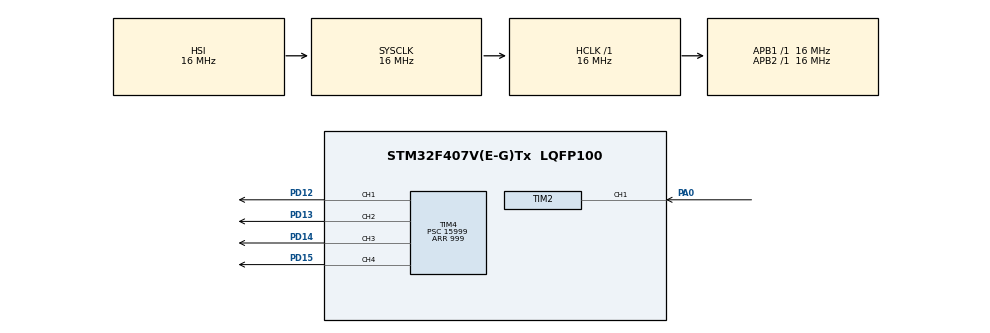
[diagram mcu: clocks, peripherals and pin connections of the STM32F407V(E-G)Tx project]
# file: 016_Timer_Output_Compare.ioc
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Mcu.Family=STM32F4
Mcu.Name=STM32F407V(E-G)Tx
Mcu.Package=LQFP100
NVIC.PriorityGroup=NVIC_PRIORITYGROUP_4
NVIC.TIM2_IRQn=true\:0\:0\:false\:false\:true\:true\:true\:true
PA0-WKUP.Signal=S_TIM2_CH1_ETR
PA13.Mode=Serial_Wire
PA13.Signal=SYS_JTMS-SWDIO
PA14.Mode=Serial_Wire
PA14.Signal=SYS_JTCK-SWCLK
PD12.Signal=S_TIM4_CH1
PD13.Signal=S_TIM4_CH2
PD14.Signal=S_TIM4_CH3
PD15.Signal=S_TIM4_CH4
ProjectManager.HeapSize=0x200
ProjectManager.StackSize=0x400
ProjectManager.TargetToolchain=STM32CubeIDE
RCC.AHBFreq_Value=16000000
RCC.APB1Freq_Value=16000000
RCC.APB2Freq_Value=16000000
RCC.CortexFreq_Value=16000000
RCC.HSE_VALUE=8000000
RCC.HSI_VALUE=16000000
RCC.LSE_VALUE=32768
RCC.RCC_MCO1Source=RCC_MCO1SOURCE_HSE
RCC.RCC_MCODiv1=RCC_MCODIV_2
RCC.SYSCLKFreq_VALUE=16000000
RCC.VCOOutputFreq_Value=192000000
SH.S_TIM2_CH1_ETR.0=TIM2_CH1,Input_Capture1_from_TI1
SH.S_TIM4_CH1.0=TIM4_CH1,Output Compare1 CH1
SH.S_TIM4_CH2.0=TIM4_CH2,Output Compare2 CH2
SH.S_TIM4_CH3.0=TIM4_CH3,Output Compare3 CH3
SH.S_TIM4_CH4.0=TIM4_CH4,Output Compare4 CH4
TIM2.Channel-Input_Capture1_from_TI1=TIM_CHANNEL_1
TIM2.ICPolarity_CH1=TIM_INPUTCHANNELPOLARITY_BOTHEDGE
TIM2.Period=\ 4294967295
TIM2.Prescaler=15999
TIM4.Channel-Output\ Compare1\ CH1=TIM_CHANNEL_1
TIM4.Channel-Output\ Compare2\ CH2=TIM_CHANNEL_2
TIM4.Channel-Output\ Compare3\ CH3=TIM_CHANNEL_3
TIM4.Channel-Output\ Compare4\ CH4=TIM_CHANNEL_4
TIM4.OCMode_1=TIM_OCMODE_TOGGLE
TIM4.OCMode_2=TIM_OCMODE_TOGGLE
TIM4.OCMode_3=TIM_OCMODE_TOGGLE
TIM4.OCMode_4=TIM_OCMODE_TOGGLE
TIM4.Period=999
TIM4.Prescaler=15999
TIM4.Pulse-Output\ Compare1\ CH1=249
TIM4.Pulse-Output\ Compare2\ CH2=499
TIM4.Pulse-Output\ Compare3\ CH3=749
TIM4.Pulse-Output\ Compare4\ CH4=999
VP_TIM2_VS_ClockSourceINT.Mode=Internal
VP_TIM4_VS_ClockSourceINT.Mode=Internal
board=custom

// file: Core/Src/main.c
/* USER CODE BEGIN Header */
/**
  ******************************************************************************
  * @file           : main.c
  * @brief          : Main program body
  ******************************************************************************
  * @attention
  *
  * Copyright (c) 2026 STMicroelectronics.
  * All rights reserved.
  *
  * This software is licensed under terms that can be found in the LICENSE file
  * in the root directory of this software component.
  * If no LICENSE file comes with this software, it is provided AS-IS.
  *
  ******************************************************************************
  */
/* USER CODE END Header */
#include "main.h"

TIM_HandleTypeDef htim2;
TIM_HandleTypeDef htim4;

/* USER CODE BEGIN PV */

uint32_t press_time 	= 0;
uint32_t release_time 	= 0;
uint32_t press_duration = 0;
uint8_t  is_pressed		= 0;

/* USER CODE END PV */

void SystemClock_Config(void);
static void MX_GPIO_Init(void);
static void MX_TIM2_Init(void);
static void MX_TIM4_Init(void);

/* USER CODE BEGIN 0 */

void HAL_TIM_IC_CaptureCallback(TIM_HandleTypeDef *htim)
{
	if(htim->Instance == TIM2 && htim->Channel == HAL_TIM_ACTIVE_CHANNEL_1)
	{
		uint32_t captured_value = HAL_TIM_ReadCapturedValue(htim, TIM_CHANNEL_1);

		if(is_pressed == 0)
		{
			is_pressed = 1;
			press_time = captured_value;
		}
		else
		{
			release_time = captured_value;

			if(release_time >= press_time)
			{
				press_duration = release_time - press_time;
			}
			else
			{
				press_duration = (0xFFFFFFFF - press_time + release_time + 1);
			}

			is_pressed = 0;
		}
	}
}

/* USER CODE END 0 */

int main(void)
{

  /* MCU Configuration--------------------------------------------------------*/

  /* Reset of all peripherals, Initializes the Flash interface and the Systick. */
  HAL_Init();

  /* Configure the system clock */
  SystemClock_Config();

  /* Initialize all configured peripherals */
  MX_GPIO_Init();
  MX_TIM2_Init();
  MX_TIM4_Init();
  /* USER CODE BEGIN 2 */

  //HAL_TIM_IC_Start_IT(&htim2, TIM_CHANNEL_1);

  HAL_TIM_OC_Start(&htim4, TIM_CHANNEL_1);
  HAL_TIM_OC_Start(&htim4, TIM_CHANNEL_2);
  HAL_TIM_OC_Start(&htim4, TIM_CHANNEL_3);
  HAL_TIM_OC_Start(&htim4, TIM_CHANNEL_4);

  /* USER CODE END 2 */

  /* Infinite loop */
  while (1)
  {

  }
}

void SystemClock_Config(void)
{
  RCC_OscInitTypeDef RCC_OscInitStruct = {0};
  RCC_ClkInitTypeDef RCC_ClkInitStruct = {0};

  /** Configure the main internal regulator output voltage
  */
  __HAL_RCC_PWR_CLK_ENABLE();
  __HAL_PWR_VOLTAGESCALING_CONFIG(PWR_REGULATOR_VOLTAGE_SCALE1);

  /** Initializes the RCC Oscillators according to the specified parameters
  * in the RCC_OscInitTypeDef structure.
  */
  RCC_OscInitStruct.OscillatorType = RCC_OSCILLATORTYPE_HSI;
  RCC_OscInitStruct.HSIState = RCC_HSI_ON;
  RCC_OscInitStruct.HSICalibrationValue = RCC_HSICALIBRATION_DEFAULT;
  RCC_OscInitStruct.PLL.PLLState = RCC_PLL_NONE;
  if (HAL_RCC_OscConfig(&RCC_OscInitStruct) != HAL_OK)
  {
    Error_Handler();
  }

  /** Initializes the CPU, AHB and APB buses clocks
  */
  RCC_ClkInitStruct.ClockType = RCC_CLOCKTYPE_HCLK|RCC_CLOCKTYPE_SYSCLK
                              |RCC_CLOCKTYPE_PCLK1|RCC_CLOCKTYPE_PCLK2;
  RCC_ClkInitStruct.SYSCLKSource = RCC_SYSCLKSOURCE_HSI;
  RCC_ClkInitStruct.AHBCLKDivider = RCC_SYSCLK_DIV1;
  RCC_ClkInitStruct.APB1CLKDivider = RCC_HCLK_DIV1;
  RCC_ClkInitStruct.APB2CLKDivider = RCC_HCLK_DIV1;

  if (HAL_RCC_ClockConfig(&RCC_ClkInitStruct, FLASH_LATENCY_0) != HAL_OK)
  {
    Error_Handler();
  }
}

static void MX_TIM2_Init(void)
{

  TIM_ClockConfigTypeDef sClockSourceConfig = {0};
  TIM_MasterConfigTypeDef sMasterConfig = {0};
  TIM_IC_InitTypeDef sConfigIC = {0};

  htim2.Instance = TIM2;
  htim2.Init.Prescaler = 15999;
  htim2.Init.CounterMode = TIM_COUNTERMODE_UP;
  htim2.Init.Period = 4294967295;
  htim2.Init.ClockDivision = TIM_CLOCKDIVISION_DIV1;
  htim2.Init.AutoReloadPreload = TIM_AUTORELOAD_PRELOAD_DISABLE;
  if (HAL_TIM_Base_Init(&htim2) != HAL_OK)
  {
    Error_Handler();
  }
  sClockSourceConfig.ClockSource = TIM_CLOCKSOURCE_INTERNAL;
  if (HAL_TIM_ConfigClockSource(&htim2, &sClockSourceConfig) != HAL_OK)
  {
    Error_Handler();
  }
  if (HAL_TIM_IC_Init(&htim2) != HAL_OK)
  {
    Error_Handler();
  }
  sMasterConfig.MasterOutputTrigger = TIM_TRGO_RESET;
  sMasterConfig.MasterSlaveMode = TIM_MASTERSLAVEMODE_DISABLE;
  if (HAL_TIMEx_MasterConfigSynchronization(&htim2, &sMasterConfig) != HAL_OK)
  {
    Error_Handler();
  }
  sConfigIC.ICPolarity = TIM_INPUTCHANNELPOLARITY_BOTHEDGE;
  sConfigIC.ICSelection = TIM_ICSELECTION_DIRECTTI;
  sConfigIC.ICPrescaler = TIM_ICPSC_DIV1;
  sConfigIC.ICFilter = 0;
  if (HAL_TIM_IC_ConfigChannel(&htim2, &sConfigIC, TIM_CHANNEL_1) != HAL_OK)
  {
    Error_Handler();
  }

}

static void MX_TIM4_Init(void)
{

  TIM_ClockConfigTypeDef sClockSourceConfig = {0};
  TIM_MasterConfigTypeDef sMasterConfig = {0};
  TIM_OC_InitTypeDef sConfigOC = {0};

  htim4.Instance = TIM4;
  htim4.Init.Prescaler = 15999;
  htim4.Init.CounterMode = TIM_COUNTERMODE_UP;
  htim4.Init.Period = 999;
  htim4.Init.ClockDivision = TIM_CLOCKDIVISION_DIV1;
  htim4.Init.AutoReloadPreload = TIM_AUTORELOAD_PRELOAD_DISABLE;
  if (HAL_TIM_Base_Init(&htim4) != HAL_OK)
  {
    Error_Handler();
  }
  sClockSourceConfig.ClockSource = TIM_CLOCKSOURCE_INTERNAL;
  if (HAL_TIM_ConfigClockSource(&htim4, &sClockSourceConfig) != HAL_OK)
  {
    Error_Handler();
  }
  if (HAL_TIM_OC_Init(&htim4) != HAL_OK)
  {
    Error_Handler();
  }
  sMasterConfig.MasterOutputTrigger = TIM_TRGO_RESET;
  sMasterConfig.MasterSlaveMode = TIM_MASTERSLAVEMODE_DISABLE;
  if (HAL_TIMEx_MasterConfigSynchronization(&htim4, &sMasterConfig) != HAL_OK)
  {
    Error_Handler();
  }
  sConfigOC.OCMode = TIM_OCMODE_TOGGLE;
  sConfigOC.Pulse = 249;
  sConfigOC.OCPolarity = TIM_OCPOLARITY_HIGH;
  sConfigOC.OCFastMode = TIM_OCFAST_DISABLE;
  if (HAL_TIM_OC_ConfigChannel(&htim4, &sConfigOC, TIM_CHANNEL_1) != HAL_OK)
  {
    Error_Handler();
  }
  sConfigOC.Pulse = 499;
  if (HAL_TIM_OC_ConfigChannel(&htim4, &sConfigOC, TIM_CHANNEL_2) != HAL_OK)
  {
    Error_Handler();
  }
  sConfigOC.Pulse = 749;
  if (HAL_TIM_OC_ConfigChannel(&htim4, &sConfigOC, TIM_CHANNEL_3) != HAL_OK)
  {
    Error_Handler();
  }
  sConfigOC.Pulse = 999;
  if (HAL_TIM_OC_ConfigChannel(&htim4, &sConfigOC, TIM_CHANNEL_4) != HAL_OK)
  {
    Error_Handler();
  }
  HAL_TIM_MspPostInit(&htim4);

}

static void MX_GPIO_Init(void)
{

  /* GPIO Ports Clock Enable */
  __HAL_RCC_GPIOA_CLK_ENABLE();
  __HAL_RCC_GPIOD_CLK_ENABLE();

}

void Error_Handler(void)
{
  __disable_irq();
  while (1)
  {
  }
}
